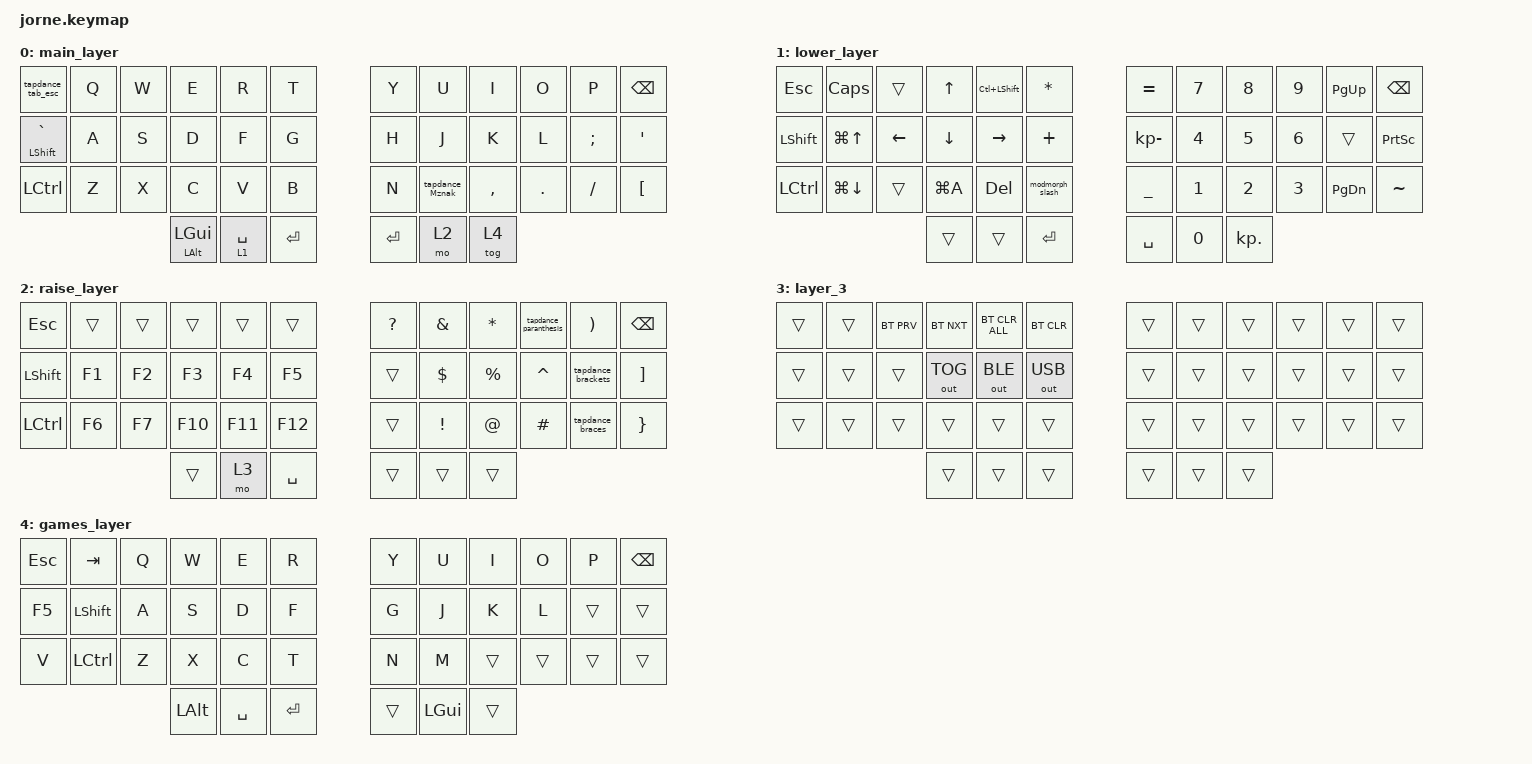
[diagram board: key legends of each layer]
/*
 * Copyright (c) 2020 The ZMK Contributors
 *
 * SPDX-License-Identifier: MIT
 */

#include <behaviors.dtsi>
#include <dt-bindings/zmk/bt.h>
#include <dt-bindings/zmk/keys.h>
#include <dt-bindings/zmk/outputs.h>

/ {
    combos {
        compatible = "zmk,combos";

        game_layer_one {
            bindings = <&kp NUMBER_1>;
            key-positions = <1 37>;
            timeout-ms = <200>;
            layers = <4>;
        };

        game_layer_two {
            bindings = <&kp NUMBER_2>;
            key-positions = <2 37>;
            timeout-ms = <200>;
            layers = <4>;
        };

        game_layer_tree {
            bindings = <&kp NUMBER_3>;
            key-positions = <37 4>;
            timeout-ms = <200>;
            layers = <4>;
        };

        game_layer_four {
            bindings = <&kp NUMBER_4>;
            key-positions = <37 5>;
            timeout-ms = <200>;
            layers = <4>;
        };

        game_layer_fife {
            bindings = <&kp NUMBER_5>;
            key-positions = <5 36>;
            timeout-ms = <200>;
            layers = <4>;
        };

        game_layer_six {
            bindings = <&kp NUMBER_6>;
            key-positions = <36 4>;
            timeout-ms = <200>;
            layers = <4>;
        };

        game_layer_seven {
            bindings = <&kp NUMBER_7>;
            key-positions = <36 2>;
            timeout-ms = <200>;
            layers = <4>;
        };

        game_layer_eight {
            bindings = <&kp NUMBER_8>;
            key-positions = <36 1>;
            timeout-ms = <200>;
            layers = <4>;
        };
    };

    behaviors {
        ss_hs_modmorph: ss_hs_modmorph {
            compatible = "zmk,behavior-mod-morph";
            label = "SS_HS_MODMORPH";
            bindings = <&kp M>, <&kp RIGHT_BRACKET>;

            #binding-cells = <0>;
            mods = <(MOD_LSFT|MOD_RSFT)>;
        };

        tapdance_brackets: tapdance_brackets {
            compatible = "zmk,behavior-tap-dance";
            label = "TAPDANCE_BRACKETS";
            #binding-cells = <0>;
            tapping-term-ms = <200>;
            bindings = <&kp LEFT_BRACKET>, <&kp RIGHT_BRACKET>;
        };

        holdtap_TUI: holdtap_TUI {
            compatible = "zmk,behavior-hold-tap";
            #binding-cells = <2>;
            flavor = "tap-unless-interrupted";
            tapping-term-ms = <200>;
            require-prior-idle-ms = <125>;
            bindings = <&kp>, <&kp>;

            label = "HOLDTAP_TUI";
        };

        tapdance_tab_esc: tapdance_tab_esc {
            compatible = "zmk,behavior-tap-dance";
            label = "TAPDANCE_TAB_ESC";
            #binding-cells = <0>;
            bindings = <&kp TAB>, <&kp ESC>;
        };

        tapdance_Mznak: tapdance_Mznak {
            compatible = "zmk,behavior-tap-dance";
            label = "TAPDANCE_MZNAK";
            #binding-cells = <0>;
            bindings = <&kp M>, <&kp RBKT>;
        };

        tapdance_slash: tapdance_slash {
            compatible = "zmk,behavior-tap-dance";
            label = "TAPDANCE_SLASH";
            #binding-cells = <0>;
            bindings = <&kp KP_SLASH>, <&kp PIPE>;
        };

        tapdance_braces: tapdance_braces {
            compatible = "zmk,behavior-tap-dance";
            label = "TAPDANCE_BRACES";
            #binding-cells = <0>;
            bindings = <&kp LBRC>, <&kp RBRC>;
        };

        tapdance_paranthesis: tapdance_paranthesis {
            compatible = "zmk,behavior-tap-dance";
            label = "TAPDANCE_PARANTHESIS";
            #binding-cells = <0>;
            bindings = <&kp LPAR>, <&kp RIGHT_PARENTHESIS>;
        };

        holdtap_spase: holdtap_spase {
            compatible = "zmk,behavior-hold-tap";
            label = "HOLDTAP_SPASE";
            bindings = <&mo>, <&kp>;

            #binding-cells = <2>;
            tapping-term-ms = <200>;
        };

        modmorph_slash: modmorph_slash {
            compatible = "zmk,behavior-mod-morph";
            label = "MODMORPH_SLASH";
            bindings = <&tapdance_slash>, <&kp BACKSLASH>;

            #binding-cells = <0>;
            mods = <(MOD_LSFT|MOD_RSFT)>;
        };

        holdtap_hold_preferred: holdtap_hold_preferred {
            compatible = "zmk,behavior-hold-tap";
            label = "HOLDTAP_HOLD_PREFERRED";
            bindings = <&kp>, <&kp>;

            #binding-cells = <2>;
            tapping-term-ms = <200>;
        };
    };

    keymap {
        compatible = "zmk,keymap";

        main_layer {
            // -----------------------------------------------------------------------------------------
            // |  TAB |  Q  |  W  |  E  |  R  |  T  |   |  Y  |  U   |  I  |  O  |  P  | BKSP |
            // | CTRL |  A  |  S  |  D  |  F  |  G  |   |  H  |  J   |  K  |  L  |  ;  |  '   |
            // | SHFT |  Z  |  X  |  C  |  V  |  B  |   |  N  |  M   |  ,  |  .  |  /  | ESC  |
            //                    | GUI | LWR | SPC |   | ENT | RSE  | ALT |

            bindings = <
&tapdance_tab_esc                     &kp Q  &kp W  &kp E                              &kp R                   &kp T        &kp Y      &kp U            &kp I      &kp O    &kp P     &kp BSPC
&holdtap_hold_preferred LSHIFT GRAVE  &kp A  &kp S  &kp D                              &kp F                   &kp G        &kp H      &kp J            &kp K      &kp L    &kp SEMI  &kp SQT
&kp LCTRL                             &kp Z  &kp X  &kp C                              &kp V                   &kp B        &kp N      &tapdance_Mznak  &kp COMMA  &kp DOT  &kp FSLH  &kp LEFT_BRACKET
                                                    &holdtap_hold_preferred LALT LGUI  &holdtap_spase 1 SPACE  &kp ENTER    &kp ENTER  &mo 2            &tog 4
            >;
        };

        lower_layer {
            // -----------------------------------------------------------------------------------------
            // |  TAB |  1  |  2  |  3  |  4  |  5  |   |  6  |  7  |  8  |  9  |  0  | BKSP |
            // | BTCLR| BT1 | BT2 | BT3 | BT4 | BT5 |   | LFT | DWN |  UP | RGT |     |      |
            // | SHFT |     |     |     |     |     |   |     |     |     |     |     |      |
            //                    | GUI |     | SPC |   | ENT |     | ALT |

            bindings = <
&kp ESC     &kp CAPS      &trans    &kp UP     &kp LC(LEFT_SHIFT)  &kp ASTERISK       &kp EQUAL       &kp N7        &kp N8        &kp N9        &kp PG_UP  &kp BSPC
&kp LSHIFT  &kp LG(UP)    &kp LEFT  &kp DOWN   &kp RIGHT           &kp PLUS           &kp KP_MINUS    &kp NUMBER_4  &kp N5        &kp NUMBER_6  &trans     &kp PSCRN
&kp LCTRL   &kp LG(DOWN)  &trans    &kp LG(A)  &kp DEL             &modmorph_slash    &kp UNDERSCORE  &kp NUMBER_1  &kp NUMBER_2  &kp NUMBER_3  &kp PG_DN  &kp TILDE
                                    &trans     &trans              &kp ENTER          &kp SPACE       &kp NUMBER_0  &kp KP_DOT
            >;
        };

        raise_layer {
            // -----------------------------------------------------------------------------------------
            // |  TAB |  !  |  @  |  #  |  $  |  %  |   |  ^  |  &  |  *  |  (  |  )  | BKSP |
            // | CTRL |     |     |     |     |     |   |  -  |  =  |  [  |  ]  |  \  |  `   |
            // | SHFT |     |     |     |     |     |   |  _  |  +  |  {  |  }  | "|" |  ~   |
            //                    | GUI |     | SPC |   | ENT |     | ALT |

            bindings = <
&kp ESC     &trans  &trans  &trans   &trans   &trans       &kp QUESTION  &kp AMPERSAND    &kp ASTRK    &tapdance_paranthesis  &kp RPAR            &kp BSPC
&kp LSHIFT  &kp F1  &kp F2  &kp F3   &kp F4   &kp F5       &trans        &kp DOLLAR       &kp PERCENT  &kp CARET              &tapdance_brackets  &kp RIGHT_BRACKET
&kp LCTRL   &kp F6  &kp F7  &kp F10  &kp F11  &kp F12      &trans        &kp EXCLAMATION  &kp AT_SIGN  &kp HASH               &tapdance_braces    &kp RIGHT_BRACE
                            &trans   &mo 3    &kp SPACE    &trans        &trans           &trans
            >;
        };

        layer_3 {
            bindings = <
&trans  &trans  &bt BT_PRV  &bt BT_NXT    &bt BT_CLR_ALL  &bt BT_CLR      &trans  &trans  &trans  &trans  &trans  &trans
&trans  &trans  &trans      &out OUT_TOG  &out OUT_BLE    &out OUT_USB    &trans  &trans  &trans  &trans  &trans  &trans
&trans  &trans  &trans      &trans        &trans          &trans          &trans  &trans  &trans  &trans  &trans  &trans
                            &trans        &trans          &trans          &trans  &trans  &trans
            >;
        };

        games_layer {
            bindings = <
&kp ESC  &kp TAB     &kp Q  &kp W     &kp E      &kp R        &kp Y   &kp U     &kp I   &kp O   &kp P   &kp BACKSPACE
&kp F5   &kp LSHIFT  &kp A  &kp S     &kp D      &kp F        &kp G   &kp J     &kp K   &kp L   &trans  &trans
&kp V    &kp LCTRL   &kp Z  &kp X     &kp C      &kp T        &kp N   &kp M     &trans  &trans  &trans  &trans
                            &kp LALT  &kp SPACE  &kp ENTER    &trans  &kp LGUI  &trans
            >;
        };
    };

    conditional_layers { compatible = "zmk,conditional-layers"; };
};
